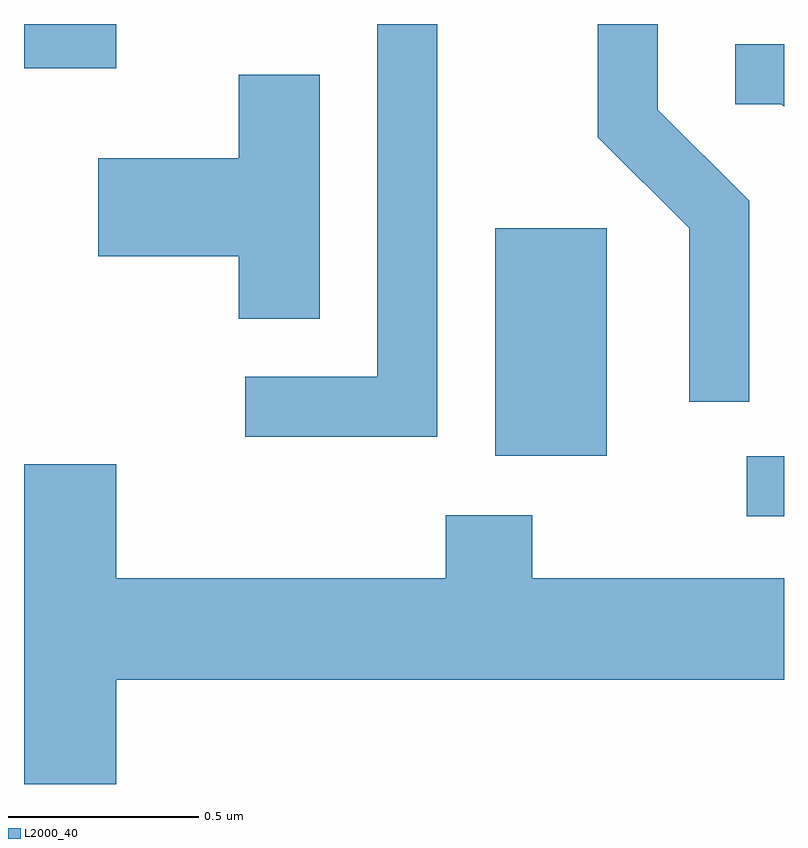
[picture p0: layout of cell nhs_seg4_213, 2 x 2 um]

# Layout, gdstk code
import gdstk
lib = gdstk.Library(unit=1e-6, precision=1e-09)
def R(c, l, rs):  # rectangles x0, y0, x1, y1
    for r in rs: c.add(gdstk.rectangle(r[:2], r[2:], *l))
def P(c, l, *ps):  # polygons
    for p in ps: c.add(gdstk.Polygon(p, *l))
L2000_40 = (2000, 40)

nhs_seg4_213 = lib.new_cell('nhs_seg4_213')
R(nhs_seg4_213, L2000_40, [(188.513,1330.686,188.611,1330.844), (187.851,1330.846,188.144,1331.444), (186.611,1331.866,186.854,1331.982)])
P(nhs_seg4_213, L2000_40, [(187.699,1331.982),(187.541,1331.982),(187.541,1331.054),(187.193,1331.054),(187.193,1330.896),(187.699,1330.896)],
  [(188.519,1331.517),(188.279,1331.757),(188.279,1331.982),(188.121,1331.982),(188.121,1331.684),(188.361,1331.444),(188.361,1330.988),(188.519,1330.988)],
  [(188.611,1331.929),(188.483,1331.929),(188.483,1331.771),(188.604,1331.771),(188.611,1331.764)],
  [(187.389,1331.849),(187.176,1331.849),(187.176,1331.629),(186.806,1331.629),(186.806,1331.371),(187.176,1331.371),(187.176,1331.206),(187.389,1331.206)],
  [(186.854,1330.256),(188.611,1330.256),(188.611,1330.524),(187.949,1330.524),(187.949,1330.689),(187.721,1330.689),(187.721,1330.524),(186.854,1330.524),(186.854,1330.824),(186.611,1330.824),(186.611,1329.982),(186.854,1329.982)])

lib.write_gds('nhs_seg4_213.gds')
